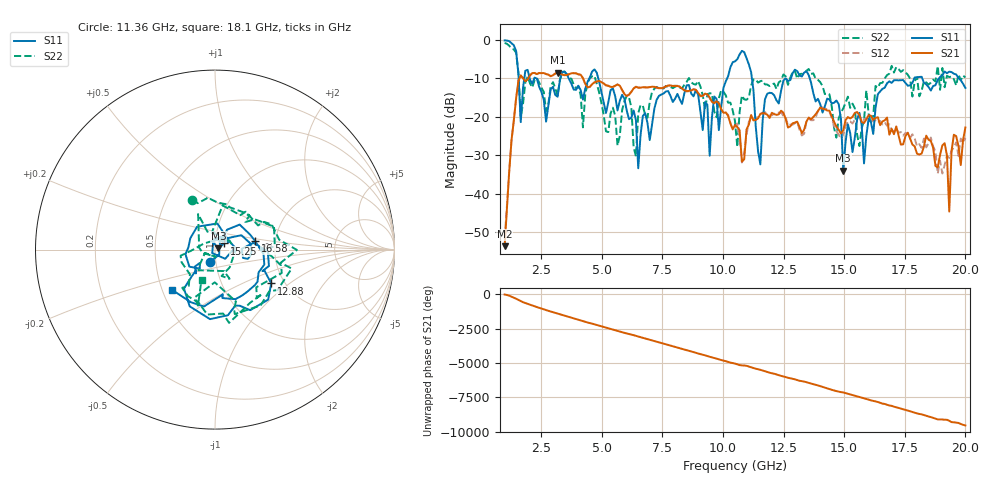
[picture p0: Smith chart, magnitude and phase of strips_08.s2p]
!Agilent Technologies,N5230A,MY45001629,A.07.50.67
!Agilent N5230A: A.07.50.67
!Date: Monday, June 05, 2017 16:30:32
!Correction: S11(Full 2 Port(1,2))
!S21(Full 2 Port(1,2))
!S12(Full 2 Port(1,2))
!S22(Full 2 Port(1,2))
!S2P File: Measurements: S11, S21, S12, S22:
# Hz S  dB  R 50
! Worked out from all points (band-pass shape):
!   201 points, 1 GHz to 20 GHz, reference 50 ohm
!   highest |S21| = -8.60 dB at 3.185 GHz (marker M1); lowest = -53.6 dB at 1 GHz (marker M2)
!   |S21| within 3 dB of the highest: 1.551 GHz to 4.336 GHz (2.785 GHz wide, 94.6 % of centre); 4.604 GHz to 5.127 GHz (523.3 MHz wide, 10.8 % of centre)
!   lowest |S11| = -34.0 dB at 14.96 GHz (marker M3), VSWR 1.04, Z = 51.9 + j0.717 ohm
!   |S11| at or under -10 dB: 4.859 GHz to 10.18 GHz (5.322 GHz wide, 70.8 % of centre); 11.2 GHz to 12.81 GHz (1.611 GHz wide, 13.4 % of centre); 13.58 GHz to 17.9 GHz (4.319 GHz wide, 27.4 % of centre)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
!   |S22| runs from -30.3 to -0.9 dB; largest |S21 - S12| = 0.032
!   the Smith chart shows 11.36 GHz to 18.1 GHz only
!   S11 on the Smith chart (normalised r, x): 11.36 GHz: 0.94, -0.13; 12.88 GHz: 1.71, -0.74; 15.25 GHz: 1.10, +0.08; 16.58 GHz: 1.57, +0.16; 18.1 GHz: 0.56, -0.29
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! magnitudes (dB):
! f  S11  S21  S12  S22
! 1 GHz  -0.2  -53.6  -51.7  -0.9
! 1.57 GHz  -9.0  -10.7  -10.7  -8.6
! 3.185 GHz  -14.8  -8.6  -8.6  -14.6
! 4.23 GHz  -15.6  -10.0  -10.0  -22.8
! 5.845 GHz  -14.4  -13.0  -13.1  -18.3
! 6.51 GHz  -33.4  -12.5  -12.5  -19.1
! 7.365 GHz  -14.6  -12.6  -12.6  -12.7
! 9.455 GHz  -30.1  -15.0  -15.2  -13.9
! 10.5 GHz  -5.7  -22.2  -22.6  -21.2
! 11.36 GHz  -22.5  -20.8  -20.7  -10.3
! 12.88 GHz  -8.7  -21.7  -22.1  -8.4
! 13.73 GHz  -13.9  -20.1  -20.9  -8.8
! 14.78 GHz  -16.7  -23.4  -24.6  -20.4
! 14.96 GHz  -34.0  -23.6  -24.6  -17.8
! 15.25 GHz  -24.3  -20.5  -21.2  -17.7
! 16.58 GHz  -12.8  -21.2  -22.0  -11.2
! 16.86 GHz  -10.8  -24.7  -22.0  -8.8
! 18.1 GHz  -9.7  -29.8  -27.1  -14.7
! 19.14 GHz  -8.3  -26.9  -32.5  -12.4
! 19.34 GHz  -8.3  -44.6  -30.7  -9.7
! 19.52 GHz  -8.9  -24.7  -27.9  -10.2
! 20 GHz  -12.5  -22.8  -25.5  -9.8
